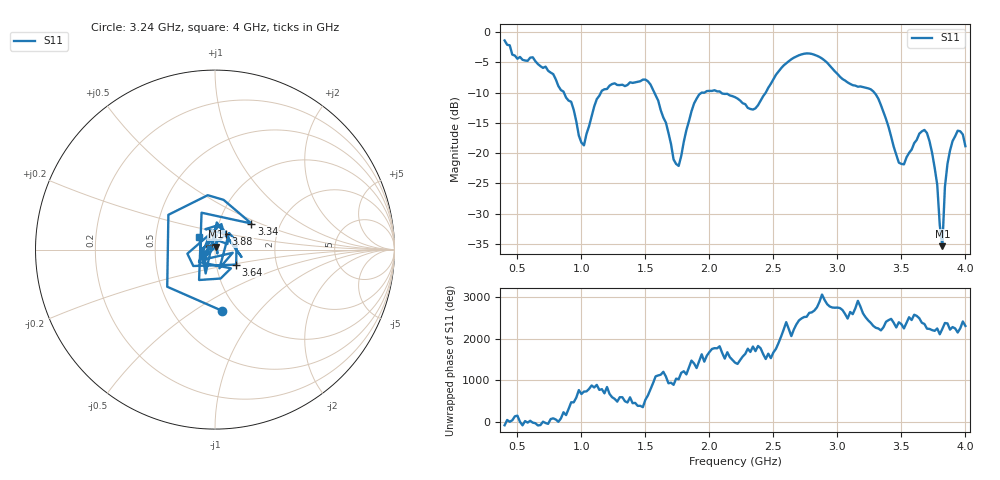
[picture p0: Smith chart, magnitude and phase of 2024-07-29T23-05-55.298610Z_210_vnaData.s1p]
!Created with skrf (http://scikit-rf.org).
# Hz S RI R 50.0
!freq ReS11 ImS11
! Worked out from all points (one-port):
!   181 points, 400 MHz to 4 GHz, reference 50 ohm
!   lowest |S11| = -35.4 dB at 3.82 GHz (marker M1), VSWR 1.03, Z = 50.5 + j1.63 ohm
!   |S11| at or under -10 dB: 1.571 GHz to 1.94 GHz (368.9 MHz wide, 21 % of centre); 2.091 GHz to 2.44 GHz (349.1 MHz wide, 15.4 % of centre); 3.288 GHz to end of sweep (the widest 3 of 5)
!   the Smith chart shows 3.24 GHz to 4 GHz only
!   S11 on the Smith chart (normalised r, x): 3.24 GHz: 0.85, -0.66; 3.34 GHz: 1.43, +0.44; 3.64 GHz: 1.25, -0.21; 3.88 GHz: 1.12, +0.19; 4 GHz: 0.83, +0.12
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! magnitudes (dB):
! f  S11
! 400 MHz  -1.4
! 860 MHz  -9.8
! 920 MHz  -11.5
! 1.02 GHz  -18.7
! 1.12 GHz  -11.1
! 1.3 GHz  -8.8
! 1.54 GHz  -8.7
! 1.76 GHz  -22.1
! 1.86 GHz  -13.1
! 1.92 GHz  -10.3
! 2.2 GHz  -10.8
! 2.36 GHz  -12.6
! 2.66 GHz  -4.2
! 2.84 GHz  -3.9
! 3.1 GHz  -8.6
! 3.24 GHz  -9.3
! 3.34 GHz  -12.1
! 3.48 GHz  -21.6
! 3.56 GHz  -20.0
! 3.64 GHz  -16.8
! 3.7 GHz  -16.7
! 3.74 GHz  -20.0
! 3.78 GHz  -25.2
! 3.82 GHz  -35.4
! 3.84 GHz  -25.6
! 3.88 GHz  -19.6
! 3.94 GHz  -16.3
! 4 GHz  -18.9
